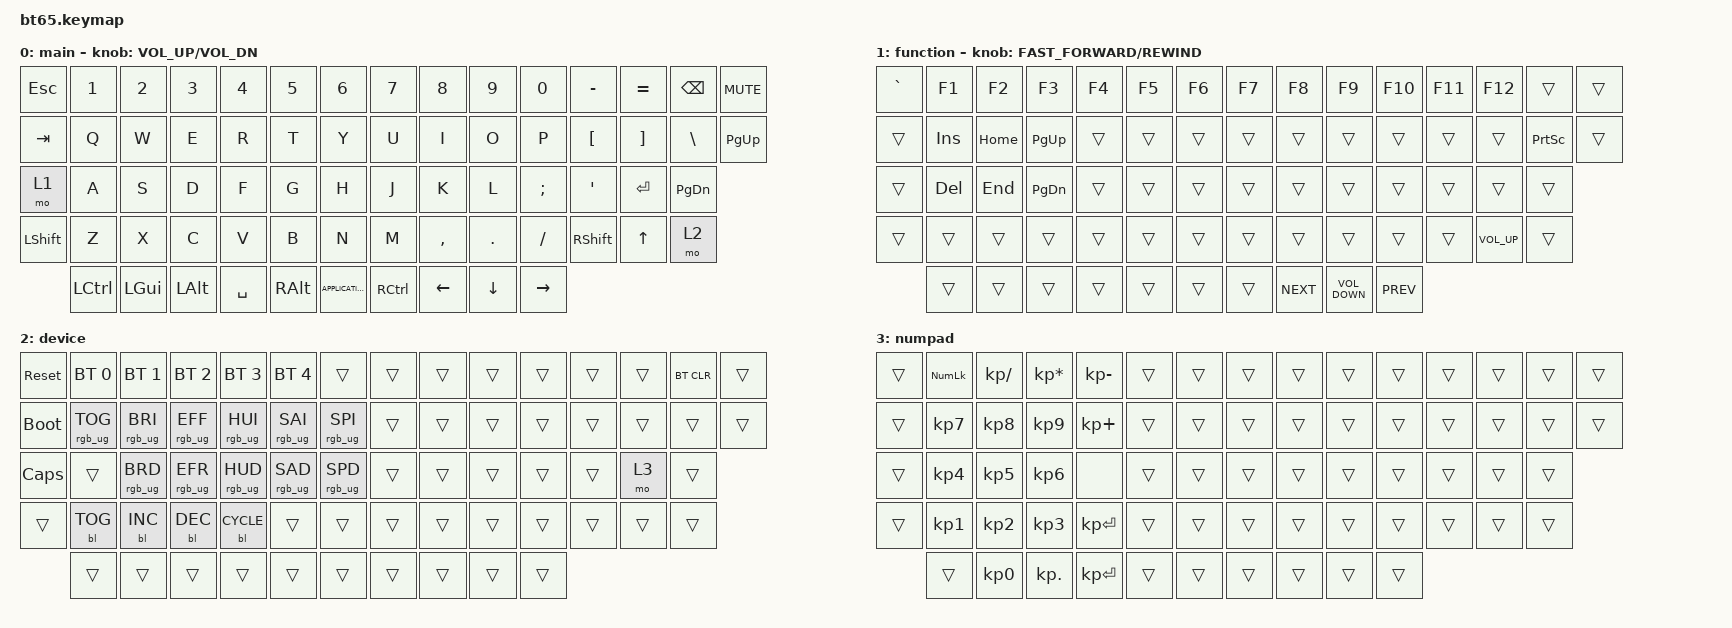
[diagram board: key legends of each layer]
#include <behaviors.dtsi>
#include <dt-bindings/zmk/backlight.h>
#include <dt-bindings/zmk/bt.h>
#include <dt-bindings/zmk/keys.h>
#include <dt-bindings/zmk/rgb.h>

/ {
    keymap {
        compatible = "zmk,keymap";

        main {
            // ------------------------------------------------------------------------------------------------------------
            // |  `  |  1  |  2  |  3  |  4  |  5  |  6  |  7  |  8  |  9  |  0  |  -  |  =  |BKSP | INS		|
            // | TAB  |  Q  |  W  |  E  |  R  |  T  |  Y  |  U  |  I  |  O  |  P  |  [  |  ]  |   \    | DEL		|
            // | CAPS  |  A  |  S  |  D  |  F  |  G  |  H  |  J  |  K  |  L  |  ;  |  '  |     ENTER    |PGUP	|
            // |  SHIFT  |  Z  |  X  |  C  |  V  |  B  |  N  |  M  |  ,  |  .  | /   |   SHIFT  | UP   | PGDN|
            // |  CTL  |  WIN  |  ALT  |            SPACE               | ALT | 1    |  MENU| LEFT |  DOWN    | RIGHT	|
            // ------------------------------------------------------------------------------------------------------------

            bindings = <
&kp ESC    &kp N1     &kp N2    &kp N3    &kp N4     &kp N5    &kp N6             &kp N7     &kp N8     &kp N9    &kp N0     &kp MINUS  &kp EQUAL  &kp BACKSPACE  &kp C_MUTE
&kp TAB    &kp Q      &kp W     &kp E     &kp R      &kp T     &kp Y              &kp U      &kp I      &kp O     &kp P      &kp LBKT   &kp RBKT   &kp BSLH       &kp PG_UP
&mo 1      &kp A      &kp S     &kp D     &kp F      &kp G     &kp H              &kp J      &kp K      &kp L     &kp SEMI   &kp SQT    &kp RET    &kp PAGE_DOWN
&kp LSHFT  &kp Z      &kp X     &kp C     &kp V      &kp B     &kp N              &kp M      &kp COMMA  &kp DOT   &kp FSLH   &kp RSHFT  &kp UP     &mo 2
           &kp LCTRL  &kp LGUI  &kp LALT  &kp SPACE  &kp RALT  &kp K_APPLICATION  &kp RCTRL  &kp LEFT   &kp DOWN  &kp RIGHT
            >;

            sensor-bindings = <&inc_dec_kp C_VOL_UP C_VOL_DN>;
        };

        function {
            bindings = <
&kp GRAVE  &kp F1      &kp F2    &kp F3         &kp F4  &kp F5  &kp F6  &kp F7  &kp F8      &kp F9             &kp F10     &kp F11  &kp F12          &trans           &trans
&trans     &kp INSERT  &kp HOME  &kp PG_UP      &trans  &trans  &trans  &trans  &trans      &trans             &trans      &trans   &trans           &kp PRINTSCREEN  &trans
&trans     &kp DELETE  &kp END   &kp PAGE_DOWN  &trans  &trans  &trans  &trans  &trans      &trans             &trans      &trans   &trans           &trans
&trans     &trans      &trans    &trans         &trans  &trans  &trans  &trans  &trans      &trans             &trans      &trans   &kp C_VOLUME_UP  &trans
           &trans      &trans    &trans         &trans  &trans  &trans  &trans  &kp C_NEXT  &kp C_VOLUME_DOWN  &kp C_PREV
            >;

            sensor-bindings = <&inc_dec_kp C_FAST_FORWARD C_REWIND>;
        };

        device {
            bindings = <
&sys_reset   &bt BT_SEL 0     &bt BT_SEL 1     &bt BT_SEL 2     &bt BT_SEL 3     &bt BT_SEL 4     &trans           &trans  &trans  &trans  &trans  &trans  &trans  &bt BT_CLR  &trans
&bootloader  &rgb_ug RGB_TOG  &rgb_ug RGB_BRI  &rgb_ug RGB_EFF  &rgb_ug RGB_HUI  &rgb_ug RGB_SAI  &rgb_ug RGB_SPI  &trans  &trans  &trans  &trans  &trans  &trans  &trans      &trans
&kp CAPS     &trans           &rgb_ug RGB_BRD  &rgb_ug RGB_EFR  &rgb_ug RGB_HUD  &rgb_ug RGB_SAD  &rgb_ug RGB_SPD  &trans  &trans  &trans  &trans  &trans  &mo 3   &trans
&trans       &bl BL_TOG       &bl BL_INC       &bl BL_DEC       &bl BL_CYCLE     &trans           &trans           &trans  &trans  &trans  &trans  &trans  &trans  &trans
             &trans           &trans           &trans           &trans           &trans           &trans           &trans  &trans  &trans  &trans
            >;
        };

        numpad {
            bindings = <
&trans  &kp KP_NUMLOCK   &kp KP_DIVIDE    &kp KP_MULTIPLY  &kp KP_SUBTRACT  &trans  &trans  &trans  &trans  &trans  &trans  &trans  &trans  &trans  &trans
&trans  &kp KP_NUMBER_7  &kp KP_NUMBER_8  &kp KP_NUMBER_9  &kp KP_PLUS      &trans  &trans  &trans  &trans  &trans  &trans  &trans  &trans  &trans  &trans
&trans  &kp KP_NUMBER_4  &kp KP_NUMBER_5  &kp KP_NUMBER_6  &none            &trans  &trans  &trans  &trans  &trans  &trans  &trans  &trans  &trans
&trans  &kp KP_NUMBER_1  &kp KP_NUMBER_2  &kp KP_NUMBER_3  &kp KP_ENTER     &trans  &trans  &trans  &trans  &trans  &trans  &trans  &trans  &trans
        &trans           &kp KP_NUMBER_0  &kp KP_DOT       &kp KP_ENTER     &trans  &trans  &trans  &trans  &trans  &trans
            >;
        };
    };
};
